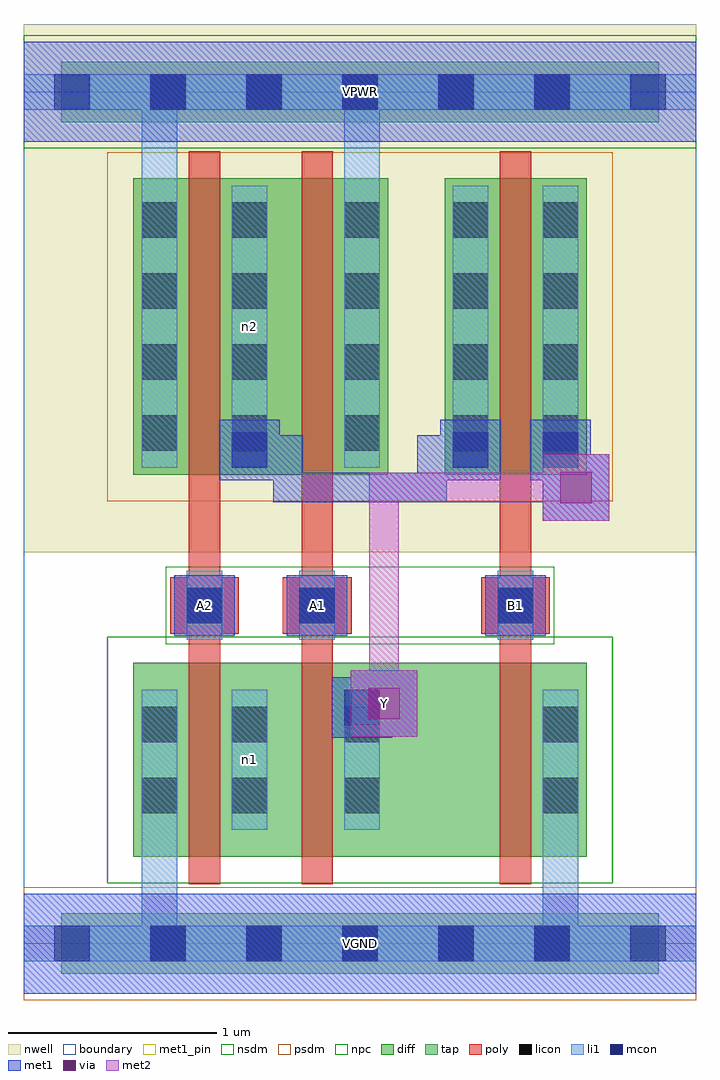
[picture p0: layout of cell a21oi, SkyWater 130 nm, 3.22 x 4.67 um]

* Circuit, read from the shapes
.subckt a21oi A1 A2 B1 VGND VPWR Y n1 n2
XM1 n1 A2 VGND VGND sky130_fd_pr__nfet_01v8 w=0.93 l=0.15
XM2 Y A1 n1 VGND sky130_fd_pr__nfet_01v8 w=0.93 l=0.15
XM3 VGND B1 Y VGND sky130_fd_pr__nfet_01v8 w=0.93 l=0.15
XM4 n2 A2 VPWR VPWR sky130_fd_pr__pfet_01v8 w=1.42 l=0.15
XM5 VPWR A1 n2 VPWR sky130_fd_pr__pfet_01v8 w=1.42 l=0.15
XM6 Y B1 n2 VPWR sky130_fd_pr__pfet_01v8 w=1.42 l=0.15
.ends

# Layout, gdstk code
import gdstk
lib = gdstk.Library(unit=1e-6, precision=1e-09)
def R(c, l, rs):  # rectangles x0, y0, x1, y1
    for r in rs: c.add(gdstk.rectangle(r[:2], r[2:], *l))
def A(c, l, x, y, w, h, nx, ny, dx, dy):  # array of equal rectangles
    R(c, l, [(x+i*dx, y+j*dy, x+i*dx+w, y+j*dy+h) for i in range(nx) for j in range(ny)])
nwell = (64, 20)
diff = (65, 20)
tap = (65, 44)
poly = (66, 20)
licon = (66, 44)
li1 = (67, 20)
mcon = (67, 44)
met1_pin = (68, 16)
met1 = (68, 20)
via = (68, 44)
met2 = (69, 20)
nsdm = (93, 44)
psdm = (94, 20)
npc = (95, 20)
boundary = (235, 4)

a21oi = lib.new_cell('a21oi')
R(a21oi, nwell, [(0,1.875,3.22,4.405)])
R(a21oi, diff, [(0.525,0.415,2.695,1.345), (0.525,2.245,1.745,3.665), (2.015,2.245,2.695,3.665)])
R(a21oi, tap, [(0.18,-0.145,3.04,0.145), (0.18,3.935,3.04,4.225)])
R(a21oi, poly, [(0.79,0.285,0.94,3.795), (1.33,0.285,1.48,3.795), (2.28,0.285,2.43,3.795), (0.7,1.485,1.03,1.755), (1.24,1.485,1.57,1.755), (2.19,1.485,2.52,1.755)])
A(a21oi, licon, 0.605, -0.085, 0.17, 0.17, 5, 2, 0.46, 4.08)
A(a21oi, licon, 0.565, 2.36, 0.17, 0.17, 1, 4, 0, 0.34)
A(a21oi, licon, 0.995, 2.36, 0.17, 0.17, 1, 4, 0, 0.34)
A(a21oi, licon, 1.535, 2.36, 0.17, 0.17, 1, 4, 0, 0.34)
A(a21oi, licon, 2.055, 2.36, 0.17, 0.17, 1, 4, 0, 0.34)
A(a21oi, licon, 2.485, 2.36, 0.17, 0.17, 1, 4, 0, 0.34)
R(a21oi, licon, [(0.565,0.625,0.735,0.795), (0.995,0.625,1.165,0.795), (1.535,0.625,1.705,0.795), (2.485,0.625,2.655,0.795), (0.565,0.965,0.735,1.135), (0.995,0.965,1.165,1.135), (1.535,0.965,1.705,1.135), (2.485,0.965,2.655,1.135), (0.78,1.535,0.95,1.705), (1.32,1.535,1.49,1.705), (2.27,1.535,2.44,1.705)])
R(a21oi, li1, [(0,-0.085,3.22,0.085), (0.565,-0.085,0.735,1.215), (2.485,-0.085,2.655,1.215), (0.565,0.545,0.735,1.215), (0.995,0.545,1.165,1.215), (1.535,0.545,1.705,1.215), (2.485,0.545,2.655,1.215), (0.78,1.455,0.95,1.785), (1.32,1.455,1.49,1.785), (2.27,1.455,2.44,1.785), (0.565,2.28,0.735,3.63), (0.565,2.28,0.735,4.165), (0.995,2.28,1.165,3.63), (1.535,2.28,1.705,3.63), (1.535,2.28,1.705,4.165), (2.055,2.28,2.225,3.63), (2.485,2.28,2.655,3.63), (0,3.995,3.22,4.165)])
A(a21oi, mcon, 0.145, -0.085, 0.17, 0.17, 7, 2, 0.46, 4.08)
R(a21oi, mcon, [(1.535,1.045,1.705,1.215), (0.78,1.535,0.95,1.705), (1.32,1.535,1.49,1.705), (2.27,1.535,2.44,1.705), (0.995,2.28,1.165,2.45), (2.055,2.28,2.225,2.45), (2.485,2.28,2.655,2.45)])
R(a21oi, met1_pin, [(0,-0.24,3.22,0.24), (1.565,0.99,1.885,1.31), (0.72,1.475,1.01,1.765), (1.26,1.475,1.55,1.765), (2.21,1.475,2.5,1.765), (0,3.84,3.22,4.32)])
A(a21oi, met1, 1.195, 2.115, 0.14, 0.32, 3, 1, 0.69, 0)
R(a21oi, met1, [(0,-0.24,3.22,0.24), (1.475,0.985,1.765,1.275), (1.565,0.99,1.885,1.31), (1.55,1.06,1.795,1.2), (1.655,1.06,1.795,1.22), (0.72,1.475,1.01,1.765), (1.26,1.475,1.55,1.765), (2.21,1.475,2.5,1.765), (2.485,2.025,2.805,2.345), (1.195,2.115,2.025,2.255), (0.935,2.22,1.225,2.51), (1.995,2.22,2.285,2.51), (2.425,2.22,2.715,2.51), (1.01,2.295,1.335,2.435), (1.885,2.295,2.21,2.435), (2.5,2.295,2.715,2.435), (0,3.84,3.22,4.32)])
R(a21oi, via, [(1.65,1.075,1.8,1.225), (2.57,2.11,2.72,2.26)])
R(a21oi, met2, [(1.565,0.99,1.885,1.31), (1.655,1.08,1.795,2.255), (2.485,2.025,2.805,2.345), (1.655,2.115,2.715,2.255)])
R(a21oi, nsdm, [(0.4,0.29,2.82,1.47), (0,3.81,3.22,4.35)])
R(a21oi, psdm, [(0,-0.27,3.22,0.27), (0.4,2.12,2.82,3.79)])
R(a21oi, npc, [(0.68,1.435,2.54,1.805)])
R(a21oi, boundary, [(0,0,3.22,4.08)])
a21oi.add(gdstk.Label('n1', (1.08,0.88), layer=67, texttype=5))
a21oi.add(gdstk.Label('n2', (1.08,2.955), layer=67, texttype=5))
a21oi.add(gdstk.Label('A1', (1.405,1.62), layer=68, texttype=5))
a21oi.add(gdstk.Label('A2', (0.865,1.62), layer=68, texttype=5))
a21oi.add(gdstk.Label('B1', (2.355,1.62), layer=68, texttype=5))
a21oi.add(gdstk.Label('Y', (1.725,1.15), layer=68, texttype=5))
a21oi.add(gdstk.Label('VPWR', (1.61,4.08), layer=68, texttype=5))
a21oi.add(gdstk.Label('VGND', (1.61,0), layer=68, texttype=5))
a21oi.add(gdstk.Label('A1', (1.405,1.62), layer=68, texttype=16))
a21oi.add(gdstk.Label('A2', (0.865,1.62), layer=68, texttype=16))
a21oi.add(gdstk.Label('B1', (2.355,1.62), layer=68, texttype=16))
a21oi.add(gdstk.Label('Y', (1.725,1.15), layer=68, texttype=16))
a21oi.add(gdstk.Label('VPWR', (1.61,4.08), layer=68, texttype=16))
a21oi.add(gdstk.Label('VGND', (1.61,0), layer=68, texttype=16))

lib.write_gds('a21oi.gds')
